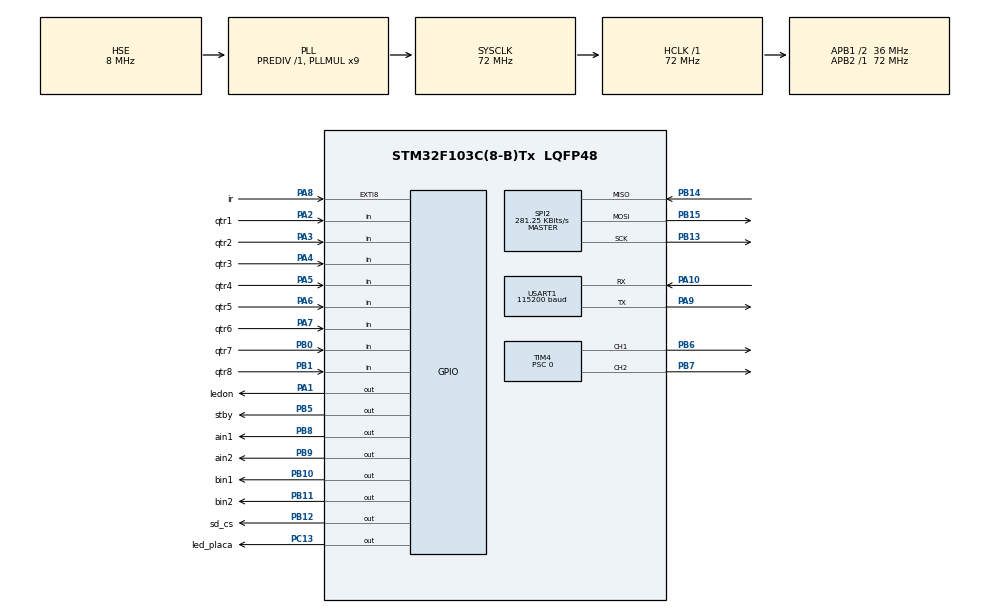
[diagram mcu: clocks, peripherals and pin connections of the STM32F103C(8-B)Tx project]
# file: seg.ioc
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Mcu.Family=STM32F1
Mcu.Name=STM32F103C(8-B)Tx
Mcu.Package=LQFP48
NVIC.EXTI9_5_IRQn=true\:0\:0\:false\:false\:true\:true\:true\:true
NVIC.PriorityGroup=NVIC_PRIORITYGROUP_4
PA1.GPIO_Label=ledon
PA1.Signal=GPIO_Output
PA10.Mode=Asynchronous
PA10.Signal=USART1_RX
PA13.Mode=Serial_Wire
PA13.Signal=SYS_JTMS-SWDIO
PA14.Mode=Serial_Wire
PA14.Signal=SYS_JTCK-SWCLK
PA2.GPIO_Label=qtr1
PA2.Signal=GPIO_Input
PA3.GPIO_Label=qtr2
PA3.Signal=GPIO_Input
PA4.GPIO_Label=qtr3
PA4.Signal=GPIO_Input
PA5.GPIO_Label=qtr4
PA5.Signal=GPIO_Input
PA6.GPIO_Label=qtr5
PA6.Signal=GPIO_Input
PA7.GPIO_Label=qtr6
PA7.Signal=GPIO_Input
PA8.GPIO_Label=ir
PA8.GPIO_ModeDefaultEXTI=GPIO_MODE_IT_FALLING
PA8.GPIO_PuPd=GPIO_PULLUP
PA8.Signal=GPXTI8
PA9.Mode=Asynchronous
PA9.Signal=USART1_TX
PB0.GPIO_Label=qtr7
PB0.Signal=GPIO_Input
PB1.GPIO_Label=qtr8
PB1.Signal=GPIO_Input
PB10.GPIO_Label=bin1
PB10.Signal=GPIO_Output
PB11.GPIO_Label=bin2
PB11.Signal=GPIO_Output
PB12.GPIO_Label=sd_cs
PB12.Signal=GPIO_Output
PB13.Mode=Full_Duplex_Master
PB13.Signal=SPI2_SCK
PB14.Mode=Full_Duplex_Master
PB14.Signal=SPI2_MISO
PB15.Mode=Full_Duplex_Master
PB15.Signal=SPI2_MOSI
PB5.GPIO_Label=stby
PB5.Signal=GPIO_Output
PB6.Signal=S_TIM4_CH1
PB7.Signal=S_TIM4_CH2
PB8.GPIO_Label=ain1
PB8.Signal=GPIO_Output
PB9.GPIO_Label=ain2
PB9.Signal=GPIO_Output
PC13-TAMPER-RTC.GPIO_Label=led_placa
PC13-TAMPER-RTC.Signal=GPIO_Output
PD0-OSC_IN.Mode=HSE-External-Oscillator
PD0-OSC_IN.Signal=RCC_OSC_IN
PD1-OSC_OUT.Mode=HSE-External-Oscillator
PD1-OSC_OUT.Signal=RCC_OSC_OUT
ProjectManager.HeapSize=0x200
ProjectManager.StackSize=0x400
ProjectManager.TargetToolchain=STM32CubeIDE
RCC.AHBFreq_Value=72000000
RCC.APB1CLKDivider=RCC_HCLK_DIV2
RCC.APB1Freq_Value=36000000
RCC.APB1TimFreq_Value=72000000
RCC.APB2Freq_Value=72000000
RCC.APB2TimFreq_Value=72000000
RCC.FLatency=FLASH_LATENCY_2
RCC.HCLKFreq_Value=72000000
RCC.PLLMUL=RCC_PLL_MUL9
RCC.PLLSourceVirtual=RCC_PLLSOURCE_HSE
RCC.SYSCLKFreq_VALUE=72000000
RCC.SYSCLKSource=RCC_SYSCLKSOURCE_PLLCLK
RCC.USBFreq_Value=72000000
SH.S_TIM4_CH1.0=TIM4_CH1,PWM Generation1 CH1
SH.S_TIM4_CH2.0=TIM4_CH2,PWM Generation2 CH2
SPI2.BaudRatePrescaler=SPI_BAUDRATEPRESCALER_128
SPI2.CLKPhase=SPI_PHASE_1EDGE
SPI2.CLKPolarity=SPI_POLARITY_LOW
SPI2.CRCCalculation=SPI_CRCCALCULATION_DISABLE
SPI2.CalculateBaudRate=281.25 KBits/s
SPI2.DataSize=SPI_DATASIZE_8BIT
SPI2.Direction=SPI_DIRECTION_2LINES
SPI2.FirstBit=SPI_FIRSTBIT_MSB
SPI2.Mode=SPI_MODE_MASTER
SPI2.NSS=SPI_NSS_SOFT
SPI2.TIMode=SPI_TIMODE_DISABLE
SPI2.VirtualType=VM_MASTER
TIM4.AutoReloadPreload=TIM_AUTORELOAD_PRELOAD_DISABLE
TIM4.Channel-PWM\ Generation1\ CH1=TIM_CHANNEL_1
TIM4.Channel-PWM\ Generation2\ CH2=TIM_CHANNEL_2
TIM4.ClockDivision=TIM_CLOCKDIVISION_DIV1
TIM4.CounterMode=TIM_COUNTERMODE_UP
TIM4.OC1Preload_PWM=ENABLE
TIM4.OC2Preload_PWM=ENABLE
TIM4.OCFastMode_PWM-PWM\ Generation1\ CH1=TIM_OCFAST_DISABLE
TIM4.OCFastMode_PWM-PWM\ Generation2\ CH2=TIM_OCFAST_DISABLE
TIM4.OCMode_PWM-PWM\ Generation1\ CH1=TIM_OCMODE_PWM1
TIM4.OCMode_PWM-PWM\ Generation2\ CH2=TIM_OCMODE_PWM1
TIM4.OCPolarity_1=TIM_OCPOLARITY_HIGH
TIM4.OCPolarity_2=TIM_OCPOLARITY_HIGH
TIM4.Period=3599
TIM4.Prescaler=0
TIM4.Pulse-PWM\ Generation1\ CH1=0
TIM4.Pulse-PWM\ Generation2\ CH2=0
TIM4.TIM_MasterOutputTrigger=TIM_TRGO_RESET
TIM4.TIM_MasterSlaveMode=TIM_MASTERSLAVEMODE_DISABLE
USART1.BaudRate=115200
USART1.Mode=MODE_TX_RX
USART1.Parity=PARITY_NONE
USART1.StopBits=STOPBITS_1
USART1.VirtualMode=VM_ASYNC
USART1.WordLength=WORDLENGTH_8B
VP_TIM4_VS_ClockSourceINT.Mode=Internal
board=custom

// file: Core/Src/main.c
/* USER CODE BEGIN Header */
/**
  ******************************************************************************
  * @file           : main.c
  * @brief          : Main program body
  ******************************************************************************
  * @attention
  *
  * Copyright (c) 2026 STMicroelectronics.
  * All rights reserved.
  *
  * This software is licensed under terms that can be found in the LICENSE file
  * in the root directory of this software component.
  * If no LICENSE file comes with this software, it is provided AS-IS.
  *
  ******************************************************************************
  */
/* USER CODE END Header */
#include "main.h"

/* USER CODE BEGIN Includes */
#include <stdio.h>
/* USER CODE END Includes */

/* USER CODE BEGIN PD */
/* ---------- Sensor ---------- */
#define QTR_TIPO_RC          1     /* 1 = QTR tipo RC (mede tempo de descarga)
                                      0 = placa com saida digital direta (comparador) */
#define LINHA_BRANCA_INICIAL 1     /* 1 = linha branca em fundo preto (sua pista)
                                      0 = linha preta em fundo branco
                                      (a tecla 0 do controle troca durante o uso) */
#define QTR_TIMEOUT_US       2500  /* tempo maximo de leitura por sensor (modo RC) */
#define QTR_LIMIAR_RUIDO     50    /* valores normalizados (0..1000) abaixo disso sao ignorados */
#define QTR_LIMIAR_LINHA     200   /* algum sensor acima disso = linha encontrada (igual a QTRSensors) */

/* ---------- Motores ---------- */
#define PWM_MAX              3599  /* = Counter Period do TIM4 */
/* Valores convertidos do codigo Arduino que funcionava (escala 0..255 -> 0..3599, x14,1) */
#define VEL_BASE_INICIAL     500   /* = 60 no Arduino (velocidadeLenta)  */
#define VEL_PASSO            140   /* = 10 no Arduino; teclas * e #     */
#define VEL_MIN_CURVA        450   /* velocidade base no erro maximo (3500); menor = curva mais lenta */
#define ERRO_CURVA           1000  /* acima desse erro a velocidade base comeca a cair */
#define LIMITA_RODA_FORA     0     /* 1 = roda de fora nunca passa da base (curva so freando a de dentro) */
#define VEL_MANUAL           1800  /* velocidade no controle manual */
#define VEL_TESTE            1500  /* velocidade no teste de motores */
#define VEL_CALIBRA          1100  /* velocidade girando durante a calibracao */
#define INVERTE_MOTOR_A      1     /* mude para 1 se o motor A girar ao contrario */
#define INVERTE_MOTOR_B      0     /* mude para 1 se o motor B girar ao contrario */

/* ---------- Controle PD ---------- */
#define KP_X100              26    /* = Kp 0,04 do Arduino  (x14,1) */
#define KD_X100              200  /* = Kd 1,02 do Arduino  (x14,1) */
#define KD_PASSO             10    /* = 0,05 no Arduino; teclas 7 e 9 */
#define SENTIDO_CORRECAO     1     /* troque para -1 se o robo virar para o lado errado */

/* ---------- Controle remoto IR (protocolo NEC) ---------- */
#define IR_TIMEOUT_MANUAL_MS 200   /* soltou a seta por esse tempo -> para */

/* Codigos usuais do controle de 17 teclas (confira na serial!) */
#define IR_1      0x45
#define IR_2      0x46
#define IR_3      0x47
#define IR_4      0x44
#define IR_5      0x40
#define IR_6      0x43
#define IR_7      0x07
#define IR_9      0x09
#define IR_0      0x19
#define IR_OK     0x1C
#define IR_CIMA   0x18
#define IR_BAIXO  0x52
#define IR_ESQ    0x08
#define IR_DIR    0x5A
#define IR_AST    0x16   /* tecla *  */
#define IR_CERQ   0x0D   /* tecla #  */
/* USER CODE END PD */

SPI_HandleTypeDef hspi2;

TIM_HandleTypeDef htim4;

UART_HandleTypeDef huart1;

/* USER CODE BEGIN PV */
typedef enum {
  MODO_PARADO = 0,
  MODO_SENSORES,
  MODO_TESTE_MOTOR,
  MODO_SEGUIR,
  MODO_CALIBRAR,
  MODO_MANUAL,
  MODO_FRENTE,
  MODO_RE
} Modo;

static const char *nome_modo[] = {
  "PARADO", "SENSORES", "TESTE MOTORES", "SEGUIR LINHA", "CALIBRAR", "MANUAL",
  "FRENTE", "RE"
};

typedef struct { GPIO_TypeDef *porta; uint8_t pino; } PinoQTR;

/* sensor 1 (PA2) ... sensor 8 (PB1) */
static const PinoQTR qtr[8] = {
  {GPIOA, 2}, {GPIOA, 3}, {GPIOA, 4}, {GPIOA, 5},
  {GPIOA, 6}, {GPIOA, 7}, {GPIOB, 0}, {GPIOB, 1}
};

static uint16_t qtr_bruto[8];
static uint16_t qtr_norm[8];
static uint16_t qtr_min[8];
static uint16_t qtr_max[8];
static uint8_t  calibrado  = 0;
static int32_t  ultima_pos = 3500;

static Modo     modo       = MODO_PARADO;
static uint32_t modo_t0    = 0;
static uint8_t  passo      = 0;
static int32_t  vel_base   = VEL_BASE_INICIAL;
static int32_t  erro_ant   = 0;
static int32_t  manual_a   = 0;
static int32_t  manual_b   = 0;
static uint8_t  linha_branca   = LINHA_BRANCA_INICIAL;
static int32_t  kp_x100        = KP_X100;
static int32_t  kd_x100        = KD_X100;
static uint8_t  primeiro_ciclo = 1;

/* Variaveis do IR (alteradas dentro da interrupcao) */
static volatile uint32_t ir_ult_borda   = 0;   /* em ciclos de clock */
static volatile uint32_t ir_dados       = 0;
static volatile uint8_t  ir_bits        = 0;
static volatile uint8_t  ir_recebendo   = 0;
static volatile uint8_t  ir_novo        = 0;
static volatile uint8_t  ir_cmd         = 0;
static volatile uint8_t  ir_end         = 0;
static volatile uint8_t  ir_teve_codigo = 0;
static volatile uint32_t ir_ult_ms      = 0;   /* ultimo codigo ou repeticao */

static uint32_t ciclos_por_us = 72;
/* USER CODE END PV */

void SystemClock_Config(void);
static void MX_GPIO_Init(void);
static void MX_SPI2_Init(void);
static void MX_TIM4_Init(void);
static void MX_USART1_UART_Init(void);

/* USER CODE BEGIN 0 */

/* ---------- printf pela USART1 ---------- */
int _write(int file, char *ptr, int len)
{
  (void)file;
  HAL_UART_Transmit(&huart1, (uint8_t *)ptr, (uint16_t)len, HAL_MAX_DELAY);
  return len;
}

/* ---------- Tempo em microssegundos usando o contador de ciclos (DWT) ---------- */
static void dwt_iniciar(void)
{
  CoreDebug->DEMCR |= CoreDebug_DEMCR_TRCENA_Msk;
  DWT->CYCCNT = 0;
  DWT->CTRL  |= DWT_CTRL_CYCCNTENA_Msk;
  ciclos_por_us = SystemCoreClock / 1000000U;
}

static inline uint32_t us_desde(uint32_t ciclo_inicio)
{
  return (DWT->CYCCNT - ciclo_inicio) / ciclos_por_us;
}

static void atraso_us(uint32_t us)
{
  uint32_t ini = DWT->CYCCNT;
  uint32_t n   = us * ciclos_por_us;
  while ((DWT->CYCCNT - ini) < n) { }
}

/* ---------- Motores (TB6612FNG) ---------- */
static void motor_um(int32_t v,
                     GPIO_TypeDef *p1, uint16_t in1,
                     GPIO_TypeDef *p2, uint16_t in2,
                     uint32_t canal)
{
  if (v >  PWM_MAX) v =  PWM_MAX;
  if (v < -PWM_MAX) v = -PWM_MAX;

  if (v > 0) {
    HAL_GPIO_WritePin(p1, in1, GPIO_PIN_SET);
    HAL_GPIO_WritePin(p2, in2, GPIO_PIN_RESET);
  } else if (v < 0) {
    HAL_GPIO_WritePin(p1, in1, GPIO_PIN_RESET);
    HAL_GPIO_WritePin(p2, in2, GPIO_PIN_SET);
    v = -v;
  } else {
    /* freio (IN1 = IN2 = 1) */
    HAL_GPIO_WritePin(p1, in1, GPIO_PIN_SET);
    HAL_GPIO_WritePin(p2, in2, GPIO_PIN_SET);
  }
  __HAL_TIM_SET_COMPARE(&htim4, canal, (uint32_t)v);
}

/* a = motor A (esquerdo), b = motor B (direito). Faixa: -PWM_MAX .. +PWM_MAX */
static void motores(int32_t a, int32_t b)
{
#if INVERTE_MOTOR_A
  a = -a;
#endif
#if INVERTE_MOTOR_B
  b = -b;
#endif
  motor_um(a, ain1_GPIO_Port, ain1_Pin, ain2_GPIO_Port, ain2_Pin, TIM_CHANNEL_1);
  motor_um(b, bin1_GPIO_Port, bin1_Pin, bin2_GPIO_Port, bin2_Pin, TIM_CHANNEL_2);
}

/* ---------- Sensor QTR-8 ---------- */
/* PA2..PA7 e PB0..PB1 ficam no registrador CRL (pinos 0..7 de cada porta) */
#define CFG_SAIDA_PP  0x3u   /* saida push-pull 50 MHz */
#define CFG_ENTRADA   0x4u   /* entrada flutuante      */

static inline void qtr_modo(const PinoQTR *s, uint32_t cfg)
{
  uint32_t sh = (uint32_t)s->pino * 4u;
  s->porta->CRL = (s->porta->CRL & ~(0xFu << sh)) | (cfg << sh);
}

static void qtr_ler_bruto(void)
{
#if QTR_TIPO_RC
  /* 1) carrega os capacitores: pinos como saida em nivel alto */
  for (int i = 0; i < 8; i++) {
    qtr[i].porta->BSRR = (1u << qtr[i].pino);
    qtr_modo(&qtr[i], CFG_SAIDA_PP);
  }
  atraso_us(10);

  /* 2) pinos como entrada e mede quanto tempo cada um leva para cair */
  for (int i = 0; i < 8; i++) {
    qtr_modo(&qtr[i], CFG_ENTRADA);
    qtr_bruto[i] = QTR_TIMEOUT_US;
  }

  uint32_t ini = DWT->CYCCNT;
  uint8_t pendentes = 0xFF;
  while (pendentes) {
    uint32_t t = us_desde(ini);
    if (t >= QTR_TIMEOUT_US) break;
    for (int i = 0; i < 8; i++) {
      if ((pendentes & (1u << i)) && !(qtr[i].porta->IDR & (1u << qtr[i].pino))) {
        qtr_bruto[i] = (uint16_t)t;
        pendentes &= (uint8_t)~(1u << i);
      }
    }
  }
#else
  /* placa com saida digital: 1 -> 1000, 0 -> 0 */
  for (int i = 0; i < 8; i++)
    qtr_bruto[i] = (qtr[i].porta->IDR & (1u << qtr[i].pino)) ? 1000 : 0;
#endif
}

static void calib_reset(void)
{
  for (int i = 0; i < 8; i++) { qtr_min[i] = 0xFFFF; qtr_max[i] = 0; }
  calibrado = 0;
}

/* Igual a QTRSensors::calibrate(): faz 10 leituras e so aceita um novo
 * maximo/minimo que se repita em todas elas (ignora picos de ruido). */
static void calib_atualizar(void)
{
  uint16_t lo[8], hi[8];
  for (int i = 0; i < 8; i++) { lo[i] = 0xFFFF; hi[i] = 0; }

  for (int n = 0; n < 10; n++) {
    qtr_ler_bruto();
    for (int i = 0; i < 8; i++) {
      if (qtr_bruto[i] < lo[i]) lo[i] = qtr_bruto[i];
      if (qtr_bruto[i] > hi[i]) hi[i] = qtr_bruto[i];
    }
  }
  for (int i = 0; i < 8; i++) {
    if (lo[i] > qtr_max[i]) qtr_max[i] = lo[i];
    if (hi[i] < qtr_min[i]) qtr_min[i] = hi[i];
  }
}

/* Converte para 0..1000, onde 1000 = em cima da linha */
static void qtr_normalizar(void)
{
  for (int i = 0; i < 8; i++) {
    int32_t v;
#if QTR_TIPO_RC
    int32_t faixa = (int32_t)qtr_max[i] - (int32_t)qtr_min[i];
    if (!calibrado || faixa <= 0) v = 0;
    else v = ((int32_t)qtr_bruto[i] - (int32_t)qtr_min[i]) * 1000 / faixa;
#else
    v = qtr_bruto[i];
#endif
    if (v < 0)    v = 0;
    if (v > 1000) v = 1000;
    if (linha_branca) v = 1000 - v;
    qtr_norm[i] = (uint16_t)v;
  }
}

/* Posicao da linha: 0 (sensor 1) ... 7000 (sensor 8); 3500 = centro */
static int32_t qtr_posicao(uint8_t *viu_linha)
{
  int32_t soma = 0, pond = 0;
  uint8_t achou = 0;
  for (int i = 0; i < 8; i++) {
    if (qtr_norm[i] > QTR_LIMIAR_LINHA) achou = 1;
    if (qtr_norm[i] > QTR_LIMIAR_RUIDO) {
      soma += qtr_norm[i];
      pond += (int32_t)qtr_norm[i] * i * 1000;
    }
  }
  if (!achou || soma == 0) {
    /* perdeu a linha: continua virando para o lado onde ela sumiu */
    *viu_linha = 0;
    ultima_pos = (ultima_pos < 3500) ? 0 : 7000;
    return ultima_pos;
  }
  *viu_linha = 1;
  ultima_pos = pond / soma;
  return ultima_pos;
}

/* ---------- Modos ---------- */
static void mostrar_parametros(void)
{
  printf("vel_base=%ld  Kp_x100=%ld  Kd_x100=%ld  linha=%s\r\n",
         (long)vel_base, (long)kp_x100, (long)kd_x100,
         linha_branca ? "BRANCA" : "PRETA");
}

static void mudar_modo(Modo m)
{
  modo     = m;
  modo_t0  = HAL_GetTick();
  passo    = 0;
  erro_ant = 0;
  primeiro_ciclo = 1;
  motores(0, 0);

  printf("Modo: %s\r\n", nome_modo[m]);
  if (m == MODO_CALIBRAR) {
    calib_reset();
    printf("Calibrando por 3 s... deixe o robo sobre a linha\r\n");
  } else if (m == MODO_TESTE_MOTOR) {
    printf("A frente, A re, B frente, B re, ambos frente, ambos re (1 s cada)\r\n");
  } else if (m == MODO_SEGUIR) {
    mostrar_parametros();
  }
}

static void manual(int32_t a, int32_t b)
{
  if (modo != MODO_MANUAL) mudar_modo(MODO_MANUAL);
  manual_a = a;
  manual_b = b;
}

static void tratar_ir(void)
{
  if (!ir_novo) return;
  ir_novo = 0;

  uint8_t c = ir_cmd;
  printf("IR: end=0x%02X cmd=0x%02X\r\n", ir_end, c);

  switch (c) {
    case IR_OK:    mudar_modo(MODO_PARADO);      break;
    case IR_1:     mudar_modo(MODO_SENSORES);    break;
    case IR_2:     mudar_modo(MODO_TESTE_MOTOR); break;
    case IR_4:     mudar_modo(MODO_CALIBRAR);    break;
    case IR_5:     mudar_modo(MODO_FRENTE);      break;
    case IR_6:     mudar_modo(MODO_RE);          break;
    case IR_3:
      if (QTR_TIPO_RC && !calibrado) printf("Calibre primeiro (tecla 4)\r\n");
      else mudar_modo(MODO_SEGUIR);
      break;

    case IR_AST:
      vel_base -= VEL_PASSO;
      if (vel_base < 0) vel_base = 0;
      mostrar_parametros();
      break;
    case IR_CERQ:
      vel_base += VEL_PASSO;
      if (vel_base > PWM_MAX) vel_base = PWM_MAX;
      mostrar_parametros();
      break;
    case IR_7:
      kd_x100 -= KD_PASSO;
      if (kd_x100 < 0) kd_x100 = 0;
      mostrar_parametros();
      break;
    case IR_9:
      kd_x100 += KD_PASSO;
      mostrar_parametros();
      break;
    case IR_0:
      linha_branca = !linha_branca;
      mostrar_parametros();
      break;

    case IR_CIMA:  manual( VEL_MANUAL,  VEL_MANUAL); break;
    case IR_BAIXO: manual(-VEL_MANUAL, -VEL_MANUAL); break;
    case IR_ESQ:   manual(-VEL_MANUAL,  VEL_MANUAL); break;
    case IR_DIR:   manual( VEL_MANUAL, -VEL_MANUAL); break;
    default: break;
  }
}

static void executar_modo(void)
{
  static uint32_t ult_print = 0;
  uint32_t agora = HAL_GetTick();
  uint32_t dt    = agora - modo_t0;

  switch (modo) {

  case MODO_PARADO:
    break;

  case MODO_SENSORES: {
    qtr_ler_bruto();
    qtr_normalizar();
    if (agora - ult_print >= 150) {
      ult_print = agora;
      uint8_t viu;
      int32_t pos = qtr_posicao(&viu);
      printf("bruto:");
      for (int i = 0; i < 8; i++) printf(" %4u", qtr_bruto[i]);
      printf("  | norm:");
      for (int i = 0; i < 8; i++) printf(" %4u", qtr_norm[i]);
      printf("  | pos=%ld%s\r\n", (long)pos, viu ? "" : " (sem linha)");
    }
    break;
  }

  case MODO_TESTE_MOTOR:
    if (dt >= 1000) { passo++; modo_t0 = agora; }
    switch (passo) {
      case 0: motores( VEL_TESTE, 0);          break;
      case 1: motores(-VEL_TESTE, 0);          break;
      case 2: motores(0,  VEL_TESTE);          break;
      case 3: motores(0, -VEL_TESTE);          break;
      case 4: motores( VEL_TESTE,  VEL_TESTE); break;
      case 5: motores(-VEL_TESTE, -VEL_TESTE); break;
      default: mudar_modo(MODO_PARADO);        break;
    }
    break;

  case MODO_CALIBRAR:
    calib_atualizar();
    if (dt < 3000) {
      /* gira para um lado e para o outro, passando os sensores sobre a linha */
      if (((dt + 375) / 750) % 2 == 0) motores( VEL_CALIBRA, -VEL_CALIBRA);
      else                             motores(-VEL_CALIBRA,  VEL_CALIBRA);
    } else {
      motores(0, 0);
      calibrado = 1;
      printf("min:");
      for (int i = 0; i < 8; i++) printf(" %4u", qtr_min[i]);
      printf("\r\nmax:");
      for (int i = 0; i < 8; i++) printf(" %4u", qtr_max[i]);
      printf("\r\nCalibrado.\r\n");
      mudar_modo(MODO_PARADO);
    }
    break;

  case MODO_SEGUIR: {
    qtr_ler_bruto();
    qtr_normalizar();
    uint8_t viu;
    int32_t pos  = qtr_posicao(&viu);
    (void)viu;
    int32_t erro = (pos - 3500) * SENTIDO_CORRECAO;
    if (primeiro_ciclo) { erro_ant = erro; primeiro_ciclo = 0; }  /* evita tranco na partida */

    int32_t corr = (erro * kp_x100 + (erro - erro_ant) * kd_x100) / 100;
    erro_ant = erro;

    /* reduz a velocidade nas curvas: cai em linha reta de vel_base (erro = ERRO_CURVA)
     * ate VEL_MIN_CURVA (erro = 3500, linha na ponta ou perdida) */
    int32_t base = vel_base;
    int32_t abs_erro = (erro < 0) ? -erro : erro;
    if (abs_erro > ERRO_CURVA && vel_base > VEL_MIN_CURVA) {
      base = vel_base - (vel_base - VEL_MIN_CURVA) * (abs_erro - ERRO_CURVA) / (3500 - ERRO_CURVA);
      if (base < VEL_MIN_CURVA) base = VEL_MIN_CURVA;
    }

    /* como no Arduino: constrain(vel, 0, 255) -> as rodas nunca giram para tras */
    int32_t esq = base + corr;
    int32_t dir = base - corr;
#if LIMITA_RODA_FORA
    if (esq > base) esq = base;
    if (dir > base) dir = base;
#endif
    if (esq < 0) esq = 0;
    if (esq > PWM_MAX) esq = PWM_MAX;
    if (dir < 0) dir = 0;
    if (dir > PWM_MAX) dir = PWM_MAX;
    motores(esq, dir);
    break;
  }

  case MODO_MANUAL:
    if (agora - ir_ult_ms > IR_TIMEOUT_MANUAL_MS) mudar_modo(MODO_PARADO);
    else motores(manual_a, manual_b);
    break;

  case MODO_FRENTE:            /* tecla 5: as duas rodas para frente ate apertar OK */
    motores( VEL_TESTE,  VEL_TESTE);
    break;

  case MODO_RE:                /* tecla 6: as duas rodas para tras ate apertar OK */
    motores(-VEL_TESTE, -VEL_TESTE);
    break;
  }
}

static void pisca_led(void)
{
  static uint32_t ult = 0;
  if (HAL_GetTick() - ult >= 500) {
    ult = HAL_GetTick();
    HAL_GPIO_TogglePin(led_placa_GPIO_Port, led_placa_Pin);
  }
}
/* USER CODE END 0 */

int main(void)
{

  /* MCU Configuration--------------------------------------------------------*/

  /* Reset of all peripherals, Initializes the Flash interface and the Systick. */
  HAL_Init();

  /* Configure the system clock */
  SystemClock_Config();

  /* Initialize all configured peripherals */
  MX_GPIO_Init();
  MX_SPI2_Init();
  MX_TIM4_Init();
  MX_USART1_UART_Init();
  /* USER CODE BEGIN 2 */
  dwt_iniciar();

  HAL_TIM_PWM_Start(&htim4, TIM_CHANNEL_1);
  HAL_TIM_PWM_Start(&htim4, TIM_CHANNEL_2);

  HAL_GPIO_WritePin(stby_GPIO_Port,  stby_Pin,  GPIO_PIN_SET);   /* habilita o TB6612 */
  HAL_GPIO_WritePin(ledon_GPIO_Port, ledon_Pin, GPIO_PIN_SET);   /* liga os LEDs do QTR */
  HAL_GPIO_WritePin(sd_cs_GPIO_Port, sd_cs_Pin, GPIO_PIN_SET);   /* SD desselecionado */

  motores(0, 0);
  calib_reset();

  printf("\r\n=== Robo seguidor - teste ===\r\n");
  printf("OK=parar  1=sensores  2=teste motores  3=seguir  4=calibrar\r\n");
  printf("5=frente  6=re  setas=manual  *=vel-  #=vel+\r\n");
  printf("7=Kd-  9=Kd+  0=troca cor da linha\r\n");
  mostrar_parametros();
  /* USER CODE END 2 */

  /* Infinite loop */
  while (1)
  {

    /* USER CODE BEGIN 3 */
    tratar_ir();
    executar_modo();
    pisca_led();
  }
  /* USER CODE END 3 */
}

void SystemClock_Config(void)
{
  RCC_OscInitTypeDef RCC_OscInitStruct = {0};
  RCC_ClkInitTypeDef RCC_ClkInitStruct = {0};

  /** Initializes the RCC Oscillators according to the specified parameters
  * in the RCC_OscInitTypeDef structure.
  */
  RCC_OscInitStruct.OscillatorType = RCC_OSCILLATORTYPE_HSE;
  RCC_OscInitStruct.HSEState = RCC_HSE_ON;
  RCC_OscInitStruct.HSEPredivValue = RCC_HSE_PREDIV_DIV1;
  RCC_OscInitStruct.HSIState = RCC_HSI_ON;
  RCC_OscInitStruct.PLL.PLLState = RCC_PLL_ON;
  RCC_OscInitStruct.PLL.PLLSource = RCC_PLLSOURCE_HSE;
  RCC_OscInitStruct.PLL.PLLMUL = RCC_PLL_MUL9;
  if (HAL_RCC_OscConfig(&RCC_OscInitStruct) != HAL_OK)
  {
    Error_Handler();
  }

  /** Initializes the CPU, AHB and APB buses clocks
  */
  RCC_ClkInitStruct.ClockType = RCC_CLOCKTYPE_HCLK|RCC_CLOCKTYPE_SYSCLK
                              |RCC_CLOCKTYPE_PCLK1|RCC_CLOCKTYPE_PCLK2;
  RCC_ClkInitStruct.SYSCLKSource = RCC_SYSCLKSOURCE_PLLCLK;
  RCC_ClkInitStruct.AHBCLKDivider = RCC_SYSCLK_DIV1;
  RCC_ClkInitStruct.APB1CLKDivider = RCC_HCLK_DIV2;
  RCC_ClkInitStruct.APB2CLKDivider = RCC_HCLK_DIV1;

  if (HAL_RCC_ClockConfig(&RCC_ClkInitStruct, FLASH_LATENCY_2) != HAL_OK)
  {
    Error_Handler();
  }
}

static void MX_SPI2_Init(void)
{

  /* SPI2 parameter configuration*/
  hspi2.Instance = SPI2;
  hspi2.Init.Mode = SPI_MODE_MASTER;
  hspi2.Init.Direction = SPI_DIRECTION_2LINES;
  hspi2.Init.DataSize = SPI_DATASIZE_8BIT;
  hspi2.Init.CLKPolarity = SPI_POLARITY_LOW;
  hspi2.Init.CLKPhase = SPI_PHASE_1EDGE;
  hspi2.Init.NSS = SPI_NSS_SOFT;
  hspi2.Init.BaudRatePrescaler = SPI_BAUDRATEPRESCALER_128;
  hspi2.Init.FirstBit = SPI_FIRSTBIT_MSB;
  hspi2.Init.TIMode = SPI_TIMODE_DISABLE;
  hspi2.Init.CRCCalculation = SPI_CRCCALCULATION_DISABLE;
  hspi2.Init.CRCPolynomial = 10;
  if (HAL_SPI_Init(&hspi2) != HAL_OK)
  {
    Error_Handler();
  }

}

static void MX_TIM4_Init(void)
{

  TIM_ClockConfigTypeDef sClockSourceConfig = {0};
  TIM_MasterConfigTypeDef sMasterConfig = {0};
  TIM_OC_InitTypeDef sConfigOC = {0};

  htim4.Instance = TIM4;
  htim4.Init.Prescaler = 0;
  htim4.Init.CounterMode = TIM_COUNTERMODE_UP;
  htim4.Init.Period = 3599;
  htim4.Init.ClockDivision = TIM_CLOCKDIVISION_DIV1;
  htim4.Init.AutoReloadPreload = TIM_AUTORELOAD_PRELOAD_DISABLE;
  if (HAL_TIM_Base_Init(&htim4) != HAL_OK)
  {
    Error_Handler();
  }
  sClockSourceConfig.ClockSource = TIM_CLOCKSOURCE_INTERNAL;
  if (HAL_TIM_ConfigClockSource(&htim4, &sClockSourceConfig) != HAL_OK)
  {
    Error_Handler();
  }
  if (HAL_TIM_PWM_Init(&htim4) != HAL_OK)
  {
    Error_Handler();
  }
  sMasterConfig.MasterOutputTrigger = TIM_TRGO_RESET;
  sMasterConfig.MasterSlaveMode = TIM_MASTERSLAVEMODE_DISABLE;
  if (HAL_TIMEx_MasterConfigSynchronization(&htim4, &sMasterConfig) != HAL_OK)
  {
    Error_Handler();
  }
  sConfigOC.OCMode = TIM_OCMODE_PWM1;
  sConfigOC.Pulse = 0;
  sConfigOC.OCPolarity = TIM_OCPOLARITY_HIGH;
  sConfigOC.OCFastMode = TIM_OCFAST_DISABLE;
  if (HAL_TIM_PWM_ConfigChannel(&htim4, &sConfigOC, TIM_CHANNEL_1) != HAL_OK)
  {
    Error_Handler();
  }
  if (HAL_TIM_PWM_ConfigChannel(&htim4, &sConfigOC, TIM_CHANNEL_2) != HAL_OK)
  {
    Error_Handler();
  }
  HAL_TIM_MspPostInit(&htim4);

}

static void MX_USART1_UART_Init(void)
{

  huart1.Instance = USART1;
  huart1.Init.BaudRate = 115200;
  huart1.Init.WordLength = UART_WORDLENGTH_8B;
  huart1.Init.StopBits = UART_STOPBITS_1;
  huart1.Init.Parity = UART_PARITY_NONE;
  huart1.Init.Mode = UART_MODE_TX_RX;
  huart1.Init.HwFlowCtl = UART_HWCONTROL_NONE;
  huart1.Init.OverSampling = UART_OVERSAMPLING_16;
  if (HAL_UART_Init(&huart1) != HAL_OK)
  {
    Error_Handler();
  }

}

static void MX_GPIO_Init(void)
{
  GPIO_InitTypeDef GPIO_InitStruct = {0};

  /* GPIO Ports Clock Enable */
  __HAL_RCC_GPIOC_CLK_ENABLE();
  __HAL_RCC_GPIOD_CLK_ENABLE();
  __HAL_RCC_GPIOA_CLK_ENABLE();
  __HAL_RCC_GPIOB_CLK_ENABLE();

  /*Configure GPIO pin Output Level */
  HAL_GPIO_WritePin(led_placa_GPIO_Port, led_placa_Pin, GPIO_PIN_RESET);

  /*Configure GPIO pin Output Level */
  HAL_GPIO_WritePin(ledon_GPIO_Port, ledon_Pin, GPIO_PIN_RESET);

  /*Configure GPIO pin Output Level */
  HAL_GPIO_WritePin(GPIOB, bin1_Pin|bin2_Pin|sd_cs_Pin|stby_Pin
                          |ain1_Pin|ain2_Pin, GPIO_PIN_RESET);

  /*Configure GPIO pin : led_placa_Pin */
  GPIO_InitStruct.Pin = led_placa_Pin;
  GPIO_InitStruct.Mode = GPIO_MODE_OUTPUT_PP;
  GPIO_InitStruct.Pull = GPIO_NOPULL;
  GPIO_InitStruct.Speed = GPIO_SPEED_FREQ_LOW;
  HAL_GPIO_Init(led_placa_GPIO_Port, &GPIO_InitStruct);

  /*Configure GPIO pin : ledon_Pin */
  GPIO_InitStruct.Pin = ledon_Pin;
  GPIO_InitStruct.Mode = GPIO_MODE_OUTPUT_PP;
  GPIO_InitStruct.Pull = GPIO_NOPULL;
  GPIO_InitStruct.Speed = GPIO_SPEED_FREQ_LOW;
  HAL_GPIO_Init(ledon_GPIO_Port, &GPIO_InitStruct);

  /*Configure GPIO pins : qtr1_Pin qtr2_Pin qtr3_Pin qtr4_Pin
                           qtr5_Pin qtr6_Pin */
  GPIO_InitStruct.Pin = qtr1_Pin|qtr2_Pin|qtr3_Pin|qtr4_Pin
                          |qtr5_Pin|qtr6_Pin;
  GPIO_InitStruct.Mode = GPIO_MODE_INPUT;
  GPIO_InitStruct.Pull = GPIO_NOPULL;
  HAL_GPIO_Init(GPIOA, &GPIO_InitStruct);

  /*Configure GPIO pins : qtr7_Pin qtr8_Pin */
  GPIO_InitStruct.Pin = qtr7_Pin|qtr8_Pin;
  GPIO_InitStruct.Mode = GPIO_MODE_INPUT;
  GPIO_InitStruct.Pull = GPIO_NOPULL;
  HAL_GPIO_Init(GPIOB, &GPIO_InitStruct);

  /*Configure GPIO pins : bin1_Pin bin2_Pin sd_cs_Pin stby_Pin
                           ain1_Pin ain2_Pin */
  GPIO_InitStruct.Pin = bin1_Pin|bin2_Pin|sd_cs_Pin|stby_Pin
                          |ain1_Pin|ain2_Pin;
  GPIO_InitStruct.Mode = GPIO_MODE_OUTPUT_PP;
  GPIO_InitStruct.Pull = GPIO_NOPULL;
  GPIO_InitStruct.Speed = GPIO_SPEED_FREQ_LOW;
  HAL_GPIO_Init(GPIOB, &GPIO_InitStruct);

  /*Configure GPIO pin : ir_Pin */
  GPIO_InitStruct.Pin = ir_Pin;
  GPIO_InitStruct.Mode = GPIO_MODE_IT_FALLING;
  GPIO_InitStruct.Pull = GPIO_PULLUP;
  HAL_GPIO_Init(ir_GPIO_Port, &GPIO_InitStruct);

  /* EXTI interrupt init*/
  HAL_NVIC_SetPriority(EXTI9_5_IRQn, 0, 0);
  HAL_NVIC_EnableIRQ(EXTI9_5_IRQn);

}

/* USER CODE BEGIN 4 */
/* Decodificador NEC: mede o tempo entre bordas de descida do receptor IR.
 *   inicio     : ~13,5 ms   (9 ms baixo + 4,5 ms alto)
 *   repeticao  : ~11,25 ms  (9 ms baixo + 2,25 ms alto)
 *   bit 0      : ~1,125 ms
 *   bit 1      : ~2,25 ms
 * Quadro: 32 bits, LSB primeiro = endereco, ~endereco, comando, ~comando */
void HAL_GPIO_EXTI_Callback(uint16_t GPIO_Pin)
{
  if (GPIO_Pin != ir_Pin) return;

  uint32_t agora = DWT->CYCCNT;
  uint32_t dt    = (agora - ir_ult_borda) / ciclos_por_us;
  ir_ult_borda   = agora;

  if (dt > 12500 && dt < 14500) {            /* inicio de quadro */
    ir_recebendo = 1;
    ir_bits = 0;
    ir_dados = 0;
    return;
  }
  if (dt > 10500 && dt < 12500) {            /* codigo de repeticao (tecla segurada) */
    if (ir_teve_codigo) ir_ult_ms = HAL_GetTick();
    ir_recebendo = 0;
    return;
  }
  if (!ir_recebendo) return;

  uint32_t bit;
  if      (dt >  800 && dt < 1500) bit = 0;
  else if (dt > 1800 && dt < 2700) bit = 1;
  else { ir_recebendo = 0; return; }         /* tempo invalido: descarta */

  ir_dados |= (bit << ir_bits);
  ir_bits++;

  if (ir_bits == 32) {
    ir_recebendo = 0;
    uint8_t cmd  = (uint8_t)(ir_dados >> 16);
    uint8_t ncmd = (uint8_t)(ir_dados >> 24);
    if ((uint8_t)(cmd ^ ncmd) == 0xFF) {     /* confere o comando invertido */
      ir_end  = (uint8_t)(ir_dados & 0xFF);
      ir_cmd  = cmd;
      ir_novo = 1;
      ir_teve_codigo = 1;
      ir_ult_ms = HAL_GetTick();
    }
  }
}
/* USER CODE END 4 */

void Error_Handler(void)
{
  __disable_irq();
  while (1)
  {
  }
}
